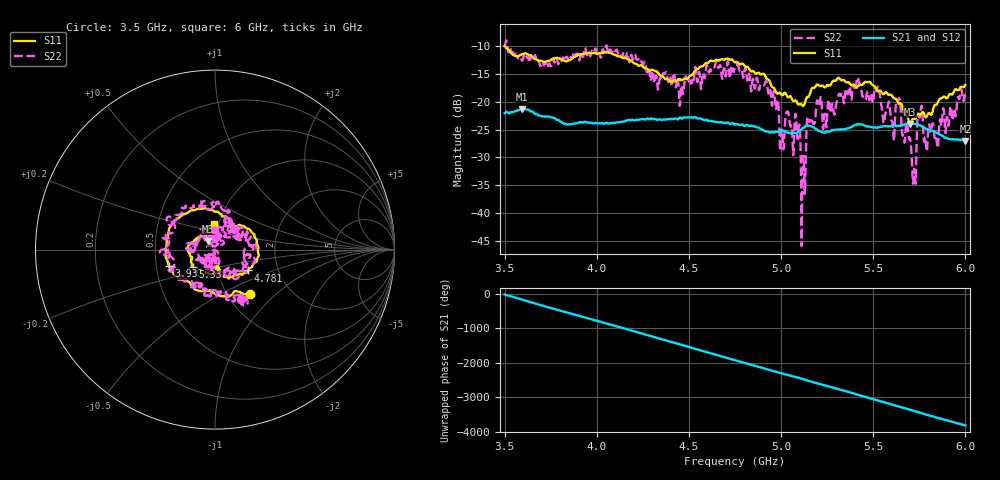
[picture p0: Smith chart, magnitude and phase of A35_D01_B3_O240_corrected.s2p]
! Created with skrf 1.9.0 (http://scikit-rf.org).
# Hz S RI R 50.0
!freq ReS11 ImS11 ReS21 ImS21 ReS12 ImS12 ReS22 ImS22
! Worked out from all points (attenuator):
!   1601 points, 3.5 GHz to 6 GHz, reference 50 ohm
!   highest |S21| = -21.33 dB at 3.594 GHz (marker M1); lowest = -27.0 dB at 6 GHz (marker M2)
!   lowest |S11| = -24.0 dB at 5.698 GHz (marker M3), VSWR 1.13, Z = 45.8 + j4.37 ohm
!   |S11| at or under -10 dB: 3.5 GHz to end of sweep
!   |S22| runs from -46.0 to -9.0 dB; largest |S21 - S12| = 0.0012
!   S11 on the Smith chart (normalised r, x): 3.5 GHz: 1.27, -0.70; 3.933 GHz: 0.58, -0.11; 4.781 GHz: 1.40, -0.34; 5.33 GHz: 0.77, -0.15; 6 GHz: 0.95, +0.27
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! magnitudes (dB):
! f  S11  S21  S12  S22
! 3.5 GHz  -10.0  -22.0  -22.0  -10.1
! 3.594 GHz  -11.5  -21.3  -21.4  -12.6
! 3.917 GHz  -11.5  -23.7  -23.7  -11.1
! 3.933 GHz  -11.3  -23.6  -23.6  -10.5
! 4.334 GHz  -14.9  -23.2  -23.2  -17.5
! 4.75 GHz  -12.9  -24.1  -24.0  -13.6
! 4.781 GHz  -13.2  -24.2  -24.2  -14.3
! 4.97 GHz  -18.1  -25.4  -25.4  -21.0
! 5.005 GHz  -18.8  -25.2  -25.3  -25.0
! 5.088 GHz  -20.2  -25.6  -25.6  -26.3
! 5.12 GHz  -20.7  -24.7  -24.7  -29.7
! 5.147 GHz  -19.1  -24.3  -24.3  -22.9
! 5.167 GHz  -17.6  -24.5  -24.5  -23.2
! 5.33 GHz  -16.1  -24.9  -24.9  -18.4
! 5.584 GHz  -18.8  -24.4  -24.4  -20.0
! 5.608 GHz  -19.2  -24.3  -24.3  -25.0
! 5.636 GHz  -20.2  -24.3  -24.3  -19.8
! 5.698 GHz  -24.0  -23.9  -23.9  -26.5
! 5.72 GHz  -23.0  -24.0  -23.9  -32.6
! 5.753 GHz  -22.3  -24.2  -24.2  -22.9
! 5.842 GHz  -20.5  -25.5  -25.5  -26.6
! 6 GHz  -17.0  -27.0  -27.0  -19.1
